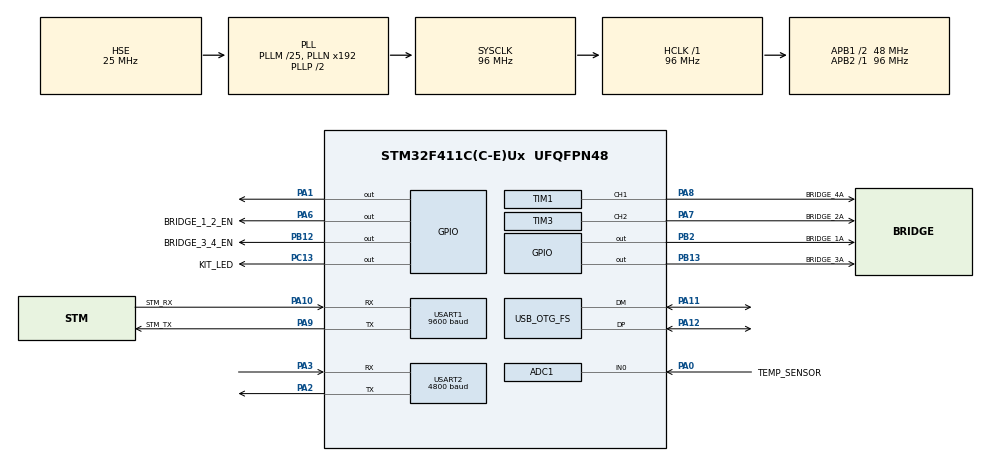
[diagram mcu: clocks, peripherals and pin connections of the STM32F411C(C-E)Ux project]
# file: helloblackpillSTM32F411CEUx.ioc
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ADC1.Channel-1\#ChannelRegularConversion=ADC_CHANNEL_0
ADC1.NbrOfConversionFlag=1
ADC1.Rank-1\#ChannelRegularConversion=1
ADC1.SamplingTime-1\#ChannelRegularConversion=ADC_SAMPLETIME_3CYCLES
ADC1.master=1
Dma.Request0=USART1_RX
Dma.Request1=USART1_TX
Dma.USART1_RX.0.Direction=DMA_PERIPH_TO_MEMORY
Dma.USART1_RX.0.FIFOMode=DMA_FIFOMODE_DISABLE
Dma.USART1_RX.0.Instance=DMA2_Stream2
Dma.USART1_RX.0.MemDataAlignment=DMA_MDATAALIGN_BYTE
Dma.USART1_RX.0.MemInc=DMA_MINC_ENABLE
Dma.USART1_RX.0.Mode=DMA_NORMAL
Dma.USART1_RX.0.PeriphDataAlignment=DMA_PDATAALIGN_BYTE
Dma.USART1_RX.0.PeriphInc=DMA_PINC_DISABLE
Dma.USART1_RX.0.Priority=DMA_PRIORITY_LOW
Dma.USART1_TX.1.Direction=DMA_MEMORY_TO_PERIPH
Dma.USART1_TX.1.FIFOMode=DMA_FIFOMODE_DISABLE
Dma.USART1_TX.1.Instance=DMA2_Stream7
Dma.USART1_TX.1.MemDataAlignment=DMA_MDATAALIGN_BYTE
Dma.USART1_TX.1.MemInc=DMA_MINC_ENABLE
Dma.USART1_TX.1.Mode=DMA_NORMAL
Dma.USART1_TX.1.PeriphDataAlignment=DMA_PDATAALIGN_BYTE
Dma.USART1_TX.1.PeriphInc=DMA_PINC_DISABLE
Dma.USART1_TX.1.Priority=DMA_PRIORITY_LOW
FREERTOS.BinarySemaphores01=ATCommandSemaphore,Static,ATCommandSemaphoreControlBlock;ATResponseSemaphore,Static,ATResponseSemaphoreControlBlock;UARTTXSemaphore,Static,UARTTXSemaphoreControlBlock;RadioStateSemaphore,Static,RadioStateSemaphoreControlBlock;LoRaTXSemaphore,Static,LoRaTXSemaphoreControlBlock
FREERTOS.Events01=ModemStatusFlags,Static,ModemStatusFlagsControlBlock
FREERTOS.Queues01=uartQueue,4,void*,0,Static,uartQueueBuffer,uartQueueControlBlock;ATQueue,4,void*,0,Static,ATQueueBuffer,ATQueueControlBlock;ModemSendQueue,4,void*,0,Static,ModemSendQueueBuffer,ModemSendQueueControlBlock;setPWMDutyQueue,4,void*,0,Static,setPWMDutyQueueBuffer,setPWMDutyQueueControlBlock
FREERTOS.Tasks01=defaultTask,9,128,StartDefaultTask,Default,NULL,Static,defaultTaskBuffer,defaultTaskControlBlock;ATParsingTask,39,512,ATParsingTaskCode,As external,NULL,Static,ATParsingTaskBuffer,ATParsingTaskControlBlock;ATHandlingTask,38,512,ATHandlingTaskCode,As external,NULL,Static,ATHandlingTaskBuffer,ATHandlingTaskControlBlock;UARTProcTask,47,512,UARTProcTaskCode,As external,NULL,Static,UARTProcTaskBuffer,UARTProcTaskControlBlock;ModemMngrTask,31,512,ModemManagerTaskCode,As external,NULL,Static,ModemMngrTaskBuffer,ModemMngrTaskControlBlock;AppSendTask,15,512,AppSendTaskCode,As external,NULL,Static,SendTemperatureBuffer,SendTemperatureControlBlock;setPWMDutyTask,15,512,setPWMDutyTaskCode,As external,NULL,Static,setPWMDutyTaskBuffer,setPWMDutyTaskControlBlock;SoilSensorTask,24,128,SoilSensorTaskCode,As external,NULL,Static,SoilSensorTaskBuffer,SoilSensorTaskControlBlock
FREERTOS.Timers01=PeriodicSendTimer,PeriodicSendTimerCallback,osTimerPeriodic,As external,NULL,Static,PeriodicSendTimerControlBlock;ModemLedTimer,ModemLedCallback,osTimerPeriodic,As external,NULL,Static,ModemLedTimerControlBlock;DutyCycleTimer,DutyCycleTimerCallback,osTimerOnce,As external,NULL,Static,DutyCycleTimerControlBlock
FREERTOS.configENABLE_FPU=1
FREERTOS.configTOTAL_HEAP_SIZE=2048
FREERTOS.configUSE_TICKLESS_IDLE=1
Mcu.Family=STM32F4
Mcu.Name=STM32F411C(C-E)Ux
Mcu.Package=UFQFPN48
NVIC.DMA2_Stream2_IRQn=true\:5\:0\:false\:false\:true\:true\:false\:true\:true
NVIC.DMA2_Stream7_IRQn=true\:5\:0\:false\:false\:true\:true\:false\:true\:true
NVIC.OTG_FS_IRQn=true\:5\:0\:false\:false\:true\:true\:false\:true\:true
NVIC.PriorityGroup=NVIC_PRIORITYGROUP_4
NVIC.TIM1_TRG_COM_TIM11_IRQn=true\:5\:0\:false\:false\:true\:false\:false\:true\:true
NVIC.TimeBase=TIM1_TRG_COM_TIM11_IRQn
NVIC.TimeBaseIP=TIM11
NVIC.USART1_IRQn=true\:5\:0\:false\:false\:true\:true\:true\:true\:true
PA0-WKUP.GPIO_Label=TEMP_SENSOR
PA0-WKUP.Signal=ADCx_IN0
PA1.Signal=GPIO_Output
PA10.GPIO_Label=STM_RX
PA10.Mode=Asynchronous
PA10.Signal=USART1_RX
PA11.Mode=Device_Only
PA11.Signal=USB_OTG_FS_DM
PA12.Mode=Device_Only
PA12.Signal=USB_OTG_FS_DP
PA13.Mode=Serial_Wire
PA13.Signal=SYS_JTMS-SWDIO
PA14.Mode=Serial_Wire
PA14.Signal=SYS_JTCK-SWCLK
PA2.Mode=Asynchronous
PA2.Signal=USART2_TX
PA3.Mode=Asynchronous
PA3.Signal=USART2_RX
PA6.GPIO_Label=BRIDGE_1_2_EN
PA6.PinState=GPIO_PIN_SET
PA6.Signal=GPIO_Output
PA7.GPIO_Label=BRIDGE_2A
PA7.Signal=S_TIM3_CH2
PA8.GPIO_Label=BRIDGE_4A
PA8.Signal=S_TIM1_CH1
PA9.GPIO_Label=STM_TX
PA9.Mode=Asynchronous
PA9.Signal=USART1_TX
PB12.GPIO_Label=BRIDGE_3_4_EN
PB12.PinState=GPIO_PIN_SET
PB12.Signal=GPIO_Output
PB13.GPIO_Label=BRIDGE_3A
PB13.Signal=GPIO_Output
PB2.GPIO_Label=BRIDGE_1A
PB2.Signal=GPIO_Output
PC13-ANTI_TAMP.GPIO_Label=KIT_LED
PC13-ANTI_TAMP.Signal=GPIO_Output
PC14-OSC32_IN.Mode=LSE-External-Oscillator
PC14-OSC32_IN.Signal=RCC_OSC32_IN
PC15-OSC32_OUT.Mode=LSE-External-Oscillator
PC15-OSC32_OUT.Signal=RCC_OSC32_OUT
PH0\ -\ OSC_IN.Mode=HSE-External-Oscillator
PH0\ -\ OSC_IN.Signal=RCC_OSC_IN
PH1\ -\ OSC_OUT.Mode=HSE-External-Oscillator
PH1\ -\ OSC_OUT.Signal=RCC_OSC_OUT
ProjectManager.HeapSize=0x200
ProjectManager.StackSize=0x400
ProjectManager.TargetToolchain=Makefile
RCC.48MHZClocksFreq_Value=48000000
RCC.AHBFreq_Value=96000000
RCC.APB1CLKDivider=RCC_HCLK_DIV2
RCC.APB1Freq_Value=48000000
RCC.APB1TimFreq_Value=96000000
RCC.APB2Freq_Value=96000000
RCC.APB2TimFreq_Value=96000000
RCC.CortexFreq_Value=96000000
RCC.HCLKFreq_Value=96000000
RCC.HSE_VALUE=25000000
RCC.HSI_VALUE=16000000
RCC.PLLM=25
RCC.SYSCLKFreq_VALUE=96000000
RCC.SYSCLKSource=RCC_SYSCLKSOURCE_PLLCLK
RCC.VCOOutputFreq_Value=192000000
SH.ADCx_IN0.0=ADC1_IN0,IN0
SH.S_TIM1_CH1.0=TIM1_CH1,PWM Generation1 CH1
SH.S_TIM3_CH2.0=TIM3_CH2,PWM Generation2 CH2
TIM1.Channel-PWM\ Generation1\ CH1=TIM_CHANNEL_1
TIM1.Period=9600-1
TIM1.Pulse-PWM\ Generation1\ CH1=9600-1
TIM2.Prescaler=9600-1
TIM3.Channel-PWM\ Generation2\ CH2=TIM_CHANNEL_2
TIM3.Period=9600-1
TIM3.Pulse-PWM\ Generation2\ CH2=9600-1
USART1.BaudRate=9600
USART1.VirtualMode=VM_ASYNC
USART2.BaudRate=4800
USART2.VirtualMode=VM_ASYNC
USB_DEVICE.CLASS_NAME_FS=CDC
USB_DEVICE.VirtualMode=Cdc
USB_DEVICE.VirtualModeFS=Cdc_FS
USB_OTG_FS.VirtualMode=Device_Only
VP_FREERTOS_VS_CMSIS_V2.Mode=CMSIS_V2
VP_SYS_VS_tim11.Mode=TIM11
VP_TIM1_VS_ClockSourceINT.Mode=Internal
VP_TIM2_VS_ClockSourceINT.Mode=Internal
VP_TIM3_VS_ClockSourceINT.Mode=Internal
VP_USB_DEVICE_VS_USB_DEVICE_CDC_FS.Mode=CDC_FS
board=custom

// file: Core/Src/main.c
/* USER CODE BEGIN Header */
/**
  ******************************************************************************
  * @file           : main.c
  * @brief          : Main program body
  ******************************************************************************
  * @attention
  *
  * Copyright (c) 2022 STMicroelectronics.
  * All rights reserved.
  *
  * This software is licensed under terms that can be found in the LICENSE file
  * in the root directory of this software component.
  * If no LICENSE file comes with this software, it is provided AS-IS.
  *
  ******************************************************************************
  */
/* USER CODE END Header */
#include "main.h"
#include "cmsis_os.h"
#include "usb_device.h"
#include "SoilSensor.h"

typedef StaticTask_t osStaticThreadDef_t;
typedef StaticQueue_t osStaticMessageQDef_t;
typedef StaticTimer_t osStaticTimerDef_t;
typedef StaticEventGroup_t osStaticEventGroupDef_t;

ADC_HandleTypeDef hadc1;

TIM_HandleTypeDef htim1;
TIM_HandleTypeDef htim2;
TIM_HandleTypeDef htim3;

UART_HandleTypeDef huart1;
UART_HandleTypeDef huart2;
DMA_HandleTypeDef hdma_usart1_rx;
DMA_HandleTypeDef hdma_usart1_tx;

/* Definitions for defaultTask */
osThreadId_t defaultTaskHandle;
uint32_t defaultTaskBuffer[ 128 ];
osStaticThreadDef_t defaultTaskControlBlock;
const osThreadAttr_t defaultTask_attributes = {
  .name = "defaultTask",
  .cb_mem = &defaultTaskControlBlock,
  .cb_size = sizeof(defaultTaskControlBlock),
  .stack_mem = &defaultTaskBuffer[0],
  .stack_size = sizeof(defaultTaskBuffer),
  .priority = (osPriority_t) osPriorityLow1,
};
/* Definitions for ATParsingTask */
osThreadId_t ATParsingTaskHandle;
uint32_t ATParsingTaskBuffer[ 512 ];
osStaticThreadDef_t ATParsingTaskControlBlock;
const osThreadAttr_t ATParsingTask_attributes = {
  .name = "ATParsingTask",
  .cb_mem = &ATParsingTaskControlBlock,
  .cb_size = sizeof(ATParsingTaskControlBlock),
  .stack_mem = &ATParsingTaskBuffer[0],
  .stack_size = sizeof(ATParsingTaskBuffer),
  .priority = (osPriority_t) osPriorityHigh,
};
/* Definitions for ATHandlingTask */
osThreadId_t ATHandlingTaskHandle;
uint32_t ATHandlingTaskBuffer[ 512 ];
osStaticThreadDef_t ATHandlingTaskControlBlock;
const osThreadAttr_t ATHandlingTask_attributes = {
  .name = "ATHandlingTask",
  .cb_mem = &ATHandlingTaskControlBlock,
  .cb_size = sizeof(ATHandlingTaskControlBlock),
  .stack_mem = &ATHandlingTaskBuffer[0],
  .stack_size = sizeof(ATHandlingTaskBuffer),
  .priority = (osPriority_t) osPriorityAboveNormal,
};
/* Definitions for UARTProcTask */
osThreadId_t UARTProcTaskHandle;
uint32_t UARTProcTaskBuffer[ 512 ];
osStaticThreadDef_t UARTProcTaskControlBlock;
const osThreadAttr_t UARTProcTask_attributes = {
  .name = "UARTProcTask",
  .cb_mem = &UARTProcTaskControlBlock,
  .cb_size = sizeof(UARTProcTaskControlBlock),
  .stack_mem = &UARTProcTaskBuffer[0],
  .stack_size = sizeof(UARTProcTaskBuffer),
  .priority = (osPriority_t) osPriorityHigh7,
};
/* Definitions for ModemMngrTask */
osThreadId_t ModemMngrTaskHandle;
uint32_t ModemMngrTaskBuffer[ 512 ];
osStaticThreadDef_t ModemMngrTaskControlBlock;
const osThreadAttr_t ModemMngrTask_attributes = {
  .name = "ModemMngrTask",
  .cb_mem = &ModemMngrTaskControlBlock,
  .cb_size = sizeof(ModemMngrTaskControlBlock),
  .stack_mem = &ModemMngrTaskBuffer[0],
  .stack_size = sizeof(ModemMngrTaskBuffer),
  .priority = (osPriority_t) osPriorityNormal,
};
/* Definitions for AppSendTask */
osThreadId_t AppSendTaskHandle;
uint32_t SendTemperatureBuffer[ 512 ];
osStaticThreadDef_t SendTemperatureControlBlock;
const osThreadAttr_t AppSendTask_attributes = {
  .name = "AppSendTask",
  .cb_mem = &SendTemperatureControlBlock,
  .cb_size = sizeof(SendTemperatureControlBlock),
  .stack_mem = &SendTemperatureBuffer[0],
  .stack_size = sizeof(SendTemperatureBuffer),
  .priority = (osPriority_t) osPriorityNormal,
};
/* Definitions for setPWMDutyTask */
osThreadId_t setPWMDutyTaskHandle;
uint32_t setPWMDutyTaskBuffer[ 512 ];
osStaticThreadDef_t setPWMDutyTaskControlBlock;
const osThreadAttr_t setPWMDutyTask_attributes = {
  .name = "setPWMDutyTask",
  .cb_mem = &setPWMDutyTaskControlBlock,
  .cb_size = sizeof(setPWMDutyTaskControlBlock),
  .stack_mem = &setPWMDutyTaskBuffer[0],
  .stack_size = sizeof(setPWMDutyTaskBuffer),
  .priority = (osPriority_t) osPriorityNormal,
};
/* Definitions for SoilSensorTask */
osThreadId_t SoilSensorTaskHandle;
uint32_t SoilSensorTaskBuffer[ 512 ];
osStaticThreadDef_t SoilSensorTaskControlBlock;
const osThreadAttr_t SoilSensorTask_attributes = {
  .name = "SoilSensorTask",
  .cb_mem = &SoilSensorTaskControlBlock,
  .cb_size = sizeof(SoilSensorTaskControlBlock),
  .stack_mem = &SoilSensorTaskBuffer[0],
  .stack_size = sizeof(SoilSensorTaskBuffer),
  .priority = (osPriority_t) osPriorityLow1,
};
/* Definitions for uartQueue */
osMessageQueueId_t uartQueueHandle;
uint8_t uartQueueBuffer[ 4 * sizeof( void* ) ];
osStaticMessageQDef_t uartQueueControlBlock;
const osMessageQueueAttr_t uartQueue_attributes = {
  .name = "uartQueue",
  .cb_mem = &uartQueueControlBlock,
  .cb_size = sizeof(uartQueueControlBlock),
  .mq_mem = &uartQueueBuffer,
  .mq_size = sizeof(uartQueueBuffer)
};
/* Definitions for ATQueue */
osMessageQueueId_t ATQueueHandle;
uint8_t ATQueueBuffer[ 4 * sizeof( void* ) ];
osStaticMessageQDef_t ATQueueControlBlock;
const osMessageQueueAttr_t ATQueue_attributes = {
  .name = "ATQueue",
  .cb_mem = &ATQueueControlBlock,
  .cb_size = sizeof(ATQueueControlBlock),
  .mq_mem = &ATQueueBuffer,
  .mq_size = sizeof(ATQueueBuffer)
};
/* Definitions for ModemSendQueue */
osMessageQueueId_t ModemSendQueueHandle;
uint8_t ModemSendQueueBuffer[ 4 * sizeof( void* ) ];
osStaticMessageQDef_t ModemSendQueueControlBlock;
const osMessageQueueAttr_t ModemSendQueue_attributes = {
  .name = "ModemSendQueue",
  .cb_mem = &ModemSendQueueControlBlock,
  .cb_size = sizeof(ModemSendQueueControlBlock),
  .mq_mem = &ModemSendQueueBuffer,
  .mq_size = sizeof(ModemSendQueueBuffer)
};
/* Definitions for setPWMDutyQueue */
osMessageQueueId_t setPWMDutyQueueHandle;
uint8_t setPWMDutyQueueBuffer[ 4 * sizeof( void* ) ];
osStaticMessageQDef_t setPWMDutyQueueControlBlock;
const osMessageQueueAttr_t setPWMDutyQueue_attributes = {
  .name = "setPWMDutyQueue",
  .cb_mem = &setPWMDutyQueueControlBlock,
  .cb_size = sizeof(setPWMDutyQueueControlBlock),
  .mq_mem = &setPWMDutyQueueBuffer,
  .mq_size = sizeof(setPWMDutyQueueBuffer)
};
/* Definitions for PeriodicSendTimer */
osTimerId_t PeriodicSendTimerHandle;
osStaticTimerDef_t PeriodicSendTimerControlBlock;
const osTimerAttr_t PeriodicSendTimer_attributes = {
  .name = "PeriodicSendTimer",
  .cb_mem = &PeriodicSendTimerControlBlock,
  .cb_size = sizeof(PeriodicSendTimerControlBlock),
};
/* Definitions for ModemLedTimer */
osTimerId_t ModemLedTimerHandle;
osStaticTimerDef_t ModemLedTimerControlBlock;
const osTimerAttr_t ModemLedTimer_attributes = {
  .name = "ModemLedTimer",
  .cb_mem = &ModemLedTimerControlBlock,
  .cb_size = sizeof(ModemLedTimerControlBlock),
};
/* Definitions for DutyCycleTimer */
osTimerId_t DutyCycleTimerHandle;
osStaticTimerDef_t DutyCycleTimerControlBlock;
const osTimerAttr_t DutyCycleTimer_attributes = {
  .name = "DutyCycleTimer",
  .cb_mem = &DutyCycleTimerControlBlock,
  .cb_size = sizeof(DutyCycleTimerControlBlock),
};
/* Definitions for ATCommandSemaphore */
osSemaphoreId_t ATCommandSemaphoreHandle;
const osSemaphoreAttr_t ATCommandSemaphore_attributes = {
  .name = "ATCommandSemaphore"
};
/* Definitions for ATResponseSemaphore */
osSemaphoreId_t ATResponseSemaphoreHandle;
const osSemaphoreAttr_t ATResponseSemaphore_attributes = {
  .name = "ATResponseSemaphore"
};
/* Definitions for UARTTXSemaphore */
osSemaphoreId_t UARTTXSemaphoreHandle;
const osSemaphoreAttr_t UARTTXSemaphore_attributes = {
  .name = "UARTTXSemaphore"
};
/* Definitions for RadioStateSemaphore */
osSemaphoreId_t RadioStateSemaphoreHandle;
const osSemaphoreAttr_t RadioStateSemaphore_attributes = {
  .name = "RadioStateSemaphore"
};
/* Definitions for LoRaTXSemaphore */
osSemaphoreId_t LoRaTXSemaphoreHandle;
const osSemaphoreAttr_t LoRaTXSemaphore_attributes = {
  .name = "LoRaTXSemaphore"
};
/* Definitions for ModemStatusFlags */
osEventFlagsId_t ModemStatusFlagsHandle;
osStaticEventGroupDef_t ModemStatusFlagsControlBlock;
const osEventFlagsAttr_t ModemStatusFlags_attributes = {
  .name = "ModemStatusFlags",
  .cb_mem = &ModemStatusFlagsControlBlock,
  .cb_size = sizeof(ModemStatusFlagsControlBlock),
};
/* USER CODE BEGIN PV */
volatile float vector[255];
extern UART_HandleTypeDef huart1;
extern DMA_HandleTypeDef hdma_usart1_rx;
extern DMA_HandleTypeDef hdma_usart1_tx;
/* USER CODE END PV */

void SystemClock_Config(void);
static void MX_GPIO_Init(void);
static void MX_DMA_Init(void);
static void MX_USART1_UART_Init(void);
static void MX_ADC1_Init(void);
static void MX_TIM2_Init(void);
static void MX_TIM1_Init(void);
static void MX_TIM3_Init(void);
static void MX_USART2_UART_Init(void);
void StartDefaultTask(void *argument);
extern void ATParsingTaskCode(void *argument);
extern void ATHandlingTaskCode(void *argument);
extern void UARTProcTaskCode(void *argument);
extern void ModemManagerTaskCode(void *argument);
extern void AppSendTaskCode(void *argument);
extern void setPWMDutyTaskCode(void *argument);
extern void SoilSensorTaskCode(void *argument);
extern void PeriodicSendTimerCallback(void *argument);
extern void ModemLedCallback(void *argument);
extern void DutyCycleTimerCallback(void *argument);

/* USER CODE BEGIN PFP */
void CONFIGURE_TIMER_FOR_RUN_TIME_STATS()
{
  HAL_TIM_Base_Start(&htim2); /* Define this to initialize your timer/counter */
}

uint32_t GET_RUN_TIME_COUNTER_VALUE()
{
  return __HAL_TIM_GET_COUNTER(&htim2); /* Define this to sample the timer/counter */
}

/* USER CODE END PFP */

/* USER CODE BEGIN 0 */
const volatile int uxTopUsedPriority = configMAX_PRIORITIES - 1; //this declaration enables thread awareness for FreeRTOS using OpenOCD

// Paste this code to Core/Inc/FreeRTOSConfig.h to enable kernel statistics (will be overwritten by STMCubeMX everytime code is generated)
// #define portCONFIGURE_TIMER_FOR_RUN_TIME_STATS() CONFIGURE_TIMER_FOR_RUN_TIME_STATS()/* Define this to initialize your timer/counter */
// #define portGET_RUN_TIME_COUNTER_VALUE() GET_RUN_TIME_COUNTER_VALUE()        /* Define this to sample the timer/counter */
// #define configGENERATE_RUN_TIME_STATS (1)
// #define configRECORD_STACK_HIGH_ADDRESS (1)

/* USER CODE END 0 */

int main(void)
{
  void HardFault_Handler(void)
{
    __asm volatile (
        "tst lr, #4 \n"
        "ite eq \n"
        "mrseq r0, msp \n"
        "mrsne r0, psp \n"
        "b hard_fault_handler_c \n"
    );
}

void hard_fault_handler_c(uint32_t *hardfault_args)
{
    volatile uint32_t stacked_r0  = hardfault_args[0];
    volatile uint32_t stacked_r1  = hardfault_args[1];
    volatile uint32_t stacked_r2  = hardfault_args[2];
    volatile uint32_t stacked_r3  = hardfault_args[3];
    volatile uint32_t stacked_r12 = hardfault_args[4];
    volatile uint32_t stacked_lr  = hardfault_args[5];
    volatile uint32_t stacked_pc  = hardfault_args[6];
    volatile uint32_t stacked_psr = hardfault_args[7];

    (void)stacked_r0; (void)stacked_r1; (void)stacked_r2; (void)stacked_r3;
    (void)stacked_r12; (void)stacked_lr; (void)stacked_psr;

    // Coloque um breakpoint aqui e inspecione stacked_pc
    while (1) { }
}
  /* USER CODE BEGIN 1 */
  uint32_t i;
  (void)uxTopUsedPriority; //this declaration enables thread awareness for FreeRTOS using OpenOCD
  /* USER CODE END 1 */

  /* MCU Configuration--------------------------------------------------------*/

  /* Reset of all peripherals, Initializes the Flash interface and the Systick. */
  HAL_Init();

  /* Configure the system clock */
  SystemClock_Config();

  /* Initialize all configured peripherals */
  MX_GPIO_Init();
  MX_DMA_Init();
  MX_USART1_UART_Init();
  MX_ADC1_Init();
  MX_TIM2_Init();
  MX_TIM1_Init();
  MX_TIM3_Init();
  MX_USART2_UART_Init();
  /* USER CODE BEGIN 2 */

  //H-Bridge PWMs
  HAL_TIM_PWM_Start(&htim1, TIM_CHANNEL_1);
  HAL_TIM_PWM_Start(&htim3, TIM_CHANNEL_2);
  /* USER CODE END 2 */

  /* Init scheduler */
  osKernelInitialize();

  /* Create the semaphores(s) */
  /* creation of ATCommandSemaphore */
  ATCommandSemaphoreHandle = osSemaphoreNew(1, 0, &ATCommandSemaphore_attributes);

  /* creation of ATResponseSemaphore */
  ATResponseSemaphoreHandle = osSemaphoreNew(1, 0, &ATResponseSemaphore_attributes);

  /* creation of UARTTXSemaphore */
  UARTTXSemaphoreHandle = osSemaphoreNew(1, 0, &UARTTXSemaphore_attributes);

  /* creation of RadioStateSemaphore */
  RadioStateSemaphoreHandle = osSemaphoreNew(1, 0, &RadioStateSemaphore_attributes);

  /* creation of LoRaTXSemaphore */
  LoRaTXSemaphoreHandle = osSemaphoreNew(1, 0, &LoRaTXSemaphore_attributes);

  /* USER CODE BEGIN RTOS_SEMAPHORES */
  osSemaphoreRelease(ATCommandSemaphoreHandle);
  osSemaphoreRelease(ATResponseSemaphoreHandle);
  osSemaphoreRelease(UARTTXSemaphoreHandle);
  osSemaphoreRelease(RadioStateSemaphoreHandle);
  osSemaphoreRelease(LoRaTXSemaphoreHandle);
  /* USER CODE END RTOS_SEMAPHORES */

  /* Create the timer(s) */
  /* creation of PeriodicSendTimer */
  PeriodicSendTimerHandle = osTimerNew(PeriodicSendTimerCallback, osTimerPeriodic, NULL, &PeriodicSendTimer_attributes);

  /* creation of ModemLedTimer */
  ModemLedTimerHandle = osTimerNew(ModemLedCallback, osTimerPeriodic, NULL, &ModemLedTimer_attributes);

  /* creation of DutyCycleTimer */
  DutyCycleTimerHandle = osTimerNew(DutyCycleTimerCallback, osTimerOnce, NULL, &DutyCycleTimer_attributes);

  /* Create the queue(s) */
  /* creation of uartQueue */
  uartQueueHandle = osMessageQueueNew (4, sizeof(void*), &uartQueue_attributes);

  /* creation of ATQueue */
  ATQueueHandle = osMessageQueueNew (4, sizeof(void*), &ATQueue_attributes);

  /* creation of ModemSendQueue */
  ModemSendQueueHandle = osMessageQueueNew (4, sizeof(void*), &ModemSendQueue_attributes);

  /* creation of setPWMDutyQueue */
  setPWMDutyQueueHandle = osMessageQueueNew (4, sizeof(void*), &setPWMDutyQueue_attributes);

  /* Create the thread(s) */
  /* creation of defaultTask */
  defaultTaskHandle = osThreadNew(StartDefaultTask, NULL, &defaultTask_attributes);

  /* creation of ATParsingTask */
  ATParsingTaskHandle = osThreadNew(ATParsingTaskCode, NULL, &ATParsingTask_attributes);

  /* creation of ATHandlingTask */
  ATHandlingTaskHandle = osThreadNew(ATHandlingTaskCode, NULL, &ATHandlingTask_attributes);

  /* creation of UARTProcTask */
  UARTProcTaskHandle = osThreadNew(UARTProcTaskCode, NULL, &UARTProcTask_attributes);

  /* creation of ModemMngrTask */
  ModemMngrTaskHandle = osThreadNew(ModemManagerTaskCode, NULL, &ModemMngrTask_attributes);

  /* creation of AppSendTask */
  AppSendTaskHandle = osThreadNew(AppSendTaskCode, NULL, &AppSendTask_attributes);

  /* creation of setPWMDutyTask */
  setPWMDutyTaskHandle = osThreadNew(setPWMDutyTaskCode, NULL, &setPWMDutyTask_attributes);

  /* creation of SoilSensorTask */
  SoilSensorTaskHandle = osThreadNew(SoilSensorTaskCode, NULL, &SoilSensorTask_attributes);

  /* Create the event(s) */
  /* creation of ModemStatusFlags */
  ModemStatusFlagsHandle = osEventFlagsNew(&ModemStatusFlags_attributes);

  /* Start scheduler */
  osKernelStart();

  /* We should never get here as control is now taken by the scheduler */

  /* Infinite loop */
  /* USER CODE BEGIN WHILE */
  while (1)
  {
    for (i = 0; i < 8; i++)
    {
    }

    /* USER CODE END WHILE */

  }
}

void SystemClock_Config(void)
{
  RCC_OscInitTypeDef RCC_OscInitStruct = {0};
  RCC_ClkInitTypeDef RCC_ClkInitStruct = {0};

  /** Configure the main internal regulator output voltage
  */
  __HAL_RCC_PWR_CLK_ENABLE();
  __HAL_PWR_VOLTAGESCALING_CONFIG(PWR_REGULATOR_VOLTAGE_SCALE1);

  /** Initializes the RCC Oscillators according to the specified parameters
  * in the RCC_OscInitTypeDef structure.
  */
  RCC_OscInitStruct.OscillatorType = RCC_OSCILLATORTYPE_HSE;
  RCC_OscInitStruct.HSEState = RCC_HSE_ON;
  RCC_OscInitStruct.PLL.PLLState = RCC_PLL_ON;
  RCC_OscInitStruct.PLL.PLLSource = RCC_PLLSOURCE_HSE;
  RCC_OscInitStruct.PLL.PLLM = 25;
  RCC_OscInitStruct.PLL.PLLN = 192;
  RCC_OscInitStruct.PLL.PLLP = RCC_PLLP_DIV2;
  RCC_OscInitStruct.PLL.PLLQ = 4;
  if (HAL_RCC_OscConfig(&RCC_OscInitStruct) != HAL_OK)
  {
    Error_Handler();
  }

  /** Initializes the CPU, AHB and APB buses clocks
  */
  RCC_ClkInitStruct.ClockType = RCC_CLOCKTYPE_HCLK|RCC_CLOCKTYPE_SYSCLK
                              |RCC_CLOCKTYPE_PCLK1|RCC_CLOCKTYPE_PCLK2;
  RCC_ClkInitStruct.SYSCLKSource = RCC_SYSCLKSOURCE_PLLCLK;
  RCC_ClkInitStruct.AHBCLKDivider = RCC_SYSCLK_DIV1;
  RCC_ClkInitStruct.APB1CLKDivider = RCC_HCLK_DIV2;
  RCC_ClkInitStruct.APB2CLKDivider = RCC_HCLK_DIV1;

  if (HAL_RCC_ClockConfig(&RCC_ClkInitStruct, FLASH_LATENCY_3) != HAL_OK)
  {
    Error_Handler();
  }
}

static void MX_ADC1_Init(void)
{

  ADC_ChannelConfTypeDef sConfig = {0};

  /** Configure the global features of the ADC (Clock, Resolution, Data Alignment and number of conversion)
  */
  hadc1.Instance = ADC1;
  hadc1.Init.ClockPrescaler = ADC_CLOCK_SYNC_PCLK_DIV4;
  hadc1.Init.Resolution = ADC_RESOLUTION_12B;
  hadc1.Init.ScanConvMode = DISABLE;
  hadc1.Init.ContinuousConvMode = DISABLE;
  hadc1.Init.DiscontinuousConvMode = DISABLE;
  hadc1.Init.ExternalTrigConvEdge = ADC_EXTERNALTRIGCONVEDGE_NONE;
  hadc1.Init.ExternalTrigConv = ADC_SOFTWARE_START;
  hadc1.Init.DataAlign = ADC_DATAALIGN_RIGHT;
  hadc1.Init.NbrOfConversion = 1;
  hadc1.Init.DMAContinuousRequests = DISABLE;
  hadc1.Init.EOCSelection = ADC_EOC_SINGLE_CONV;
  if (HAL_ADC_Init(&hadc1) != HAL_OK)
  {
    Error_Handler();
  }

  /** Configure for the selected ADC regular channel its corresponding rank in the sequencer and its sample time.
  */
  sConfig.Channel = ADC_CHANNEL_0;
  sConfig.Rank = 1;
  sConfig.SamplingTime = ADC_SAMPLETIME_3CYCLES;
  if (HAL_ADC_ConfigChannel(&hadc1, &sConfig) != HAL_OK)
  {
    Error_Handler();
  }

}

static void MX_TIM1_Init(void)
{

  TIM_ClockConfigTypeDef sClockSourceConfig = {0};
  TIM_MasterConfigTypeDef sMasterConfig = {0};
  TIM_OC_InitTypeDef sConfigOC = {0};
  TIM_BreakDeadTimeConfigTypeDef sBreakDeadTimeConfig = {0};

  htim1.Instance = TIM1;
  htim1.Init.Prescaler = 0;
  htim1.Init.CounterMode = TIM_COUNTERMODE_UP;
  htim1.Init.Period = 9600-1;
  htim1.Init.ClockDivision = TIM_CLOCKDIVISION_DIV1;
  htim1.Init.RepetitionCounter = 0;
  htim1.Init.AutoReloadPreload = TIM_AUTORELOAD_PRELOAD_DISABLE;
  if (HAL_TIM_Base_Init(&htim1) != HAL_OK)
  {
    Error_Handler();
  }
  sClockSourceConfig.ClockSource = TIM_CLOCKSOURCE_INTERNAL;
  if (HAL_TIM_ConfigClockSource(&htim1, &sClockSourceConfig) != HAL_OK)
  {
    Error_Handler();
  }
  if (HAL_TIM_PWM_Init(&htim1) != HAL_OK)
  {
    Error_Handler();
  }
  sMasterConfig.MasterOutputTrigger = TIM_TRGO_RESET;
  sMasterConfig.MasterSlaveMode = TIM_MASTERSLAVEMODE_DISABLE;
  if (HAL_TIMEx_MasterConfigSynchronization(&htim1, &sMasterConfig) != HAL_OK)
  {
    Error_Handler();
  }
  sConfigOC.OCMode = TIM_OCMODE_PWM1;
  sConfigOC.Pulse = 9600-1;
  sConfigOC.OCPolarity = TIM_OCPOLARITY_HIGH;
  sConfigOC.OCNPolarity = TIM_OCNPOLARITY_HIGH;
  sConfigOC.OCFastMode = TIM_OCFAST_DISABLE;
  sConfigOC.OCIdleState = TIM_OCIDLESTATE_RESET;
  sConfigOC.OCNIdleState = TIM_OCNIDLESTATE_RESET;
  if (HAL_TIM_PWM_ConfigChannel(&htim1, &sConfigOC, TIM_CHANNEL_1) != HAL_OK)
  {
    Error_Handler();
  }
  sBreakDeadTimeConfig.OffStateRunMode = TIM_OSSR_DISABLE;
  sBreakDeadTimeConfig.OffStateIDLEMode = TIM_OSSI_DISABLE;
  sBreakDeadTimeConfig.LockLevel = TIM_LOCKLEVEL_OFF;
  sBreakDeadTimeConfig.DeadTime = 0;
  sBreakDeadTimeConfig.BreakState = TIM_BREAK_DISABLE;
  sBreakDeadTimeConfig.BreakPolarity = TIM_BREAKPOLARITY_HIGH;
  sBreakDeadTimeConfig.AutomaticOutput = TIM_AUTOMATICOUTPUT_DISABLE;
  if (HAL_TIMEx_ConfigBreakDeadTime(&htim1, &sBreakDeadTimeConfig) != HAL_OK)
  {
    Error_Handler();
  }
  HAL_TIM_MspPostInit(&htim1);

}

static void MX_TIM2_Init(void)
{

  TIM_ClockConfigTypeDef sClockSourceConfig = {0};
  TIM_MasterConfigTypeDef sMasterConfig = {0};

  htim2.Instance = TIM2;
  htim2.Init.Prescaler = 9600-1;
  htim2.Init.CounterMode = TIM_COUNTERMODE_UP;
  htim2.Init.Period = 4294967295;
  htim2.Init.ClockDivision = TIM_CLOCKDIVISION_DIV1;
  htim2.Init.AutoReloadPreload = TIM_AUTORELOAD_PRELOAD_DISABLE;
  if (HAL_TIM_Base_Init(&htim2) != HAL_OK)
  {
    Error_Handler();
  }
  sClockSourceConfig.ClockSource = TIM_CLOCKSOURCE_INTERNAL;
  if (HAL_TIM_ConfigClockSource(&htim2, &sClockSourceConfig) != HAL_OK)
  {
    Error_Handler();
  }
  sMasterConfig.MasterOutputTrigger = TIM_TRGO_RESET;
  sMasterConfig.MasterSlaveMode = TIM_MASTERSLAVEMODE_DISABLE;
  if (HAL_TIMEx_MasterConfigSynchronization(&htim2, &sMasterConfig) != HAL_OK)
  {
    Error_Handler();
  }

}

static void MX_TIM3_Init(void)
{

  TIM_ClockConfigTypeDef sClockSourceConfig = {0};
  TIM_MasterConfigTypeDef sMasterConfig = {0};
  TIM_OC_InitTypeDef sConfigOC = {0};

  htim3.Instance = TIM3;
  htim3.Init.Prescaler = 0;
  htim3.Init.CounterMode = TIM_COUNTERMODE_UP;
  htim3.Init.Period = 9600-1;
  htim3.Init.ClockDivision = TIM_CLOCKDIVISION_DIV1;
  htim3.Init.AutoReloadPreload = TIM_AUTORELOAD_PRELOAD_DISABLE;
  if (HAL_TIM_Base_Init(&htim3) != HAL_OK)
  {
    Error_Handler();
  }
  sClockSourceConfig.ClockSource = TIM_CLOCKSOURCE_INTERNAL;
  if (HAL_TIM_ConfigClockSource(&htim3, &sClockSourceConfig) != HAL_OK)
  {
    Error_Handler();
  }
  if (HAL_TIM_PWM_Init(&htim3) != HAL_OK)
  {
    Error_Handler();
  }
  sMasterConfig.MasterOutputTrigger = TIM_TRGO_RESET;
  sMasterConfig.MasterSlaveMode = TIM_MASTERSLAVEMODE_DISABLE;
  if (HAL_TIMEx_MasterConfigSynchronization(&htim3, &sMasterConfig) != HAL_OK)
  {
    Error_Handler();
  }
  sConfigOC.OCMode = TIM_OCMODE_PWM1;
  sConfigOC.Pulse = 9600-1;
  sConfigOC.OCPolarity = TIM_OCPOLARITY_HIGH;
  sConfigOC.OCFastMode = TIM_OCFAST_DISABLE;
  if (HAL_TIM_PWM_ConfigChannel(&htim3, &sConfigOC, TIM_CHANNEL_2) != HAL_OK)
  {
    Error_Handler();
  }
  HAL_TIM_MspPostInit(&htim3);

}

static void MX_USART1_UART_Init(void)
{

  huart1.Instance = USART1;
  huart1.Init.BaudRate = 9600;
  huart1.Init.WordLength = UART_WORDLENGTH_8B;
  huart1.Init.StopBits = UART_STOPBITS_1;
  huart1.Init.Parity = UART_PARITY_NONE;
  huart1.Init.Mode = UART_MODE_TX_RX;
  huart1.Init.HwFlowCtl = UART_HWCONTROL_NONE;
  huart1.Init.OverSampling = UART_OVERSAMPLING_16;
  if (HAL_UART_Init(&huart1) != HAL_OK)
  {
    Error_Handler();
  }

}

static void MX_USART2_UART_Init(void)
{

  huart2.Instance = USART2;
  huart2.Init.BaudRate = 4800;
  huart2.Init.WordLength = UART_WORDLENGTH_8B;
  huart2.Init.StopBits = UART_STOPBITS_1;
  huart2.Init.Parity = UART_PARITY_NONE;
  huart2.Init.Mode = UART_MODE_TX_RX;
  huart2.Init.HwFlowCtl = UART_HWCONTROL_NONE;
  huart2.Init.OverSampling = UART_OVERSAMPLING_16;
  if (HAL_UART_Init(&huart2) != HAL_OK)
  {
    Error_Handler();
  }

}

static void MX_DMA_Init(void)
{

  /* DMA controller clock enable */
  __HAL_RCC_DMA2_CLK_ENABLE();

  /* DMA interrupt init */
  /* DMA2_Stream2_IRQn interrupt configuration */
  HAL_NVIC_SetPriority(DMA2_Stream2_IRQn, 5, 0);
  HAL_NVIC_EnableIRQ(DMA2_Stream2_IRQn);
  /* DMA2_Stream7_IRQn interrupt configuration */
  HAL_NVIC_SetPriority(DMA2_Stream7_IRQn, 5, 0);
  HAL_NVIC_EnableIRQ(DMA2_Stream7_IRQn);

}

static void MX_GPIO_Init(void)
{
  GPIO_InitTypeDef GPIO_InitStruct = {0};

  /* GPIO Ports Clock Enable */
  __HAL_RCC_GPIOC_CLK_ENABLE();
  __HAL_RCC_GPIOH_CLK_ENABLE();
  __HAL_RCC_GPIOA_CLK_ENABLE();
  __HAL_RCC_GPIOB_CLK_ENABLE();

  /*Configure GPIO pin Output Level */
  HAL_GPIO_WritePin(KIT_LED_GPIO_Port, KIT_LED_Pin, GPIO_PIN_RESET);

  /*Configure GPIO pin Output Level */
  HAL_GPIO_WritePin(GPIOA, GPIO_PIN_1, GPIO_PIN_RESET);

  /*Configure GPIO pin Output Level */
  HAL_GPIO_WritePin(BRIDGE_1_2_EN_GPIO_Port, BRIDGE_1_2_EN_Pin, GPIO_PIN_SET);

  /*Configure GPIO pin Output Level */
  HAL_GPIO_WritePin(GPIOB, BRIDGE_1A_Pin|BRIDGE_3A_Pin, GPIO_PIN_RESET);

  /*Configure GPIO pin Output Level */
  HAL_GPIO_WritePin(BRIDGE_3_4_EN_GPIO_Port, BRIDGE_3_4_EN_Pin, GPIO_PIN_SET);

  /*Configure GPIO pin : KIT_LED_Pin */
  GPIO_InitStruct.Pin = KIT_LED_Pin;
  GPIO_InitStruct.Mode = GPIO_MODE_OUTPUT_PP;
  GPIO_InitStruct.Pull = GPIO_NOPULL;
  GPIO_InitStruct.Speed = GPIO_SPEED_FREQ_LOW;
  HAL_GPIO_Init(KIT_LED_GPIO_Port, &GPIO_InitStruct);

  /*Configure GPIO pins : PA1 BRIDGE_1_2_EN_Pin */
  GPIO_InitStruct.Pin = GPIO_PIN_1|BRIDGE_1_2_EN_Pin;
  GPIO_InitStruct.Mode = GPIO_MODE_OUTPUT_PP;
  GPIO_InitStruct.Pull = GPIO_NOPULL;
  GPIO_InitStruct.Speed = GPIO_SPEED_FREQ_LOW;
  HAL_GPIO_Init(GPIOA, &GPIO_InitStruct);

  /*Configure GPIO pins : BRIDGE_1A_Pin BRIDGE_3_4_EN_Pin BRIDGE_3A_Pin */
  GPIO_InitStruct.Pin = BRIDGE_1A_Pin|BRIDGE_3_4_EN_Pin|BRIDGE_3A_Pin;
  GPIO_InitStruct.Mode = GPIO_MODE_OUTPUT_PP;
  GPIO_InitStruct.Pull = GPIO_NOPULL;
  GPIO_InitStruct.Speed = GPIO_SPEED_FREQ_LOW;
  HAL_GPIO_Init(GPIOB, &GPIO_InitStruct);

}

void StartDefaultTask(void *argument)
{
  /* init code for USB_DEVICE */
  MX_USB_DEVICE_Init();
  for(;;)
  {
    osDelay(1);
  }
}

void HAL_TIM_PeriodElapsedCallback(TIM_HandleTypeDef *htim)
{
  if (htim->Instance == TIM11)
  {
    HAL_IncTick();
  }
}

void Error_Handler(void)
{
  __disable_irq();
  while (1)
  {
  }
}
